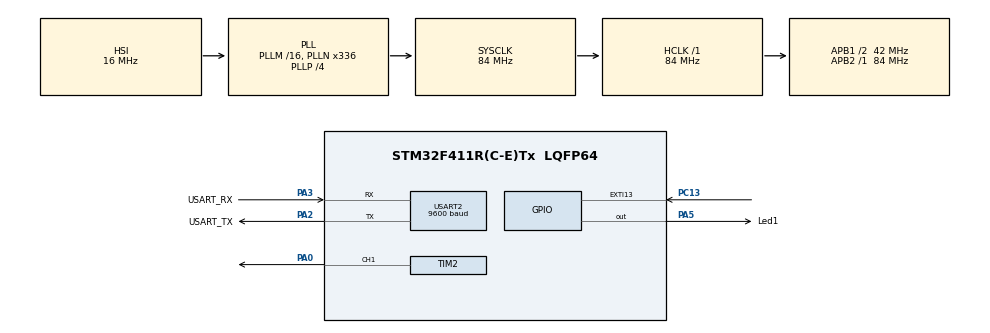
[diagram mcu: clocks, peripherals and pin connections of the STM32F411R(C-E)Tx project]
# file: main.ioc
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Mcu.Family=STM32F4
Mcu.Name=STM32F411R(C-E)Tx
Mcu.Package=LQFP64
NVIC.EXTI15_10_IRQn=true\:0\:0\:false\:false\:true\:true
NVIC.PriorityGroup=NVIC_PRIORITYGROUP_0
NVIC.TIM3_IRQn=true\:0\:0\:false\:false\:true\:true
PA0-WKUP.Signal=S_TIM2_CH1_ETR
PA13.GPIO_Label=TMS
PA13.Signal=SYS_JTMS-SWDIO
PA14.GPIO_Label=TCK
PA14.Signal=SYS_JTCK-SWCLK
PA2.GPIO_Label=USART_TX
PA2.Mode=Asynchronous
PA2.Signal=USART2_TX
PA3.GPIO_Label=USART_RX
PA3.Mode=Asynchronous
PA3.Signal=USART2_RX
PA5.GPIO_Label=Led1
PA5.Signal=GPIO_Output
PB3.GPIO_Label=SWO
PB3.Signal=SYS_JTDO-SWO
PC13-ANTI_TAMP.GPIO_ModeDefaultEXTI=GPIO_MODE_IT_RISING_FALLING
PC13-ANTI_TAMP.Signal=GPXTI13
PC14-OSC32_IN.Signal=RCC_OSC32_IN
PC15-OSC32_OUT.Signal=RCC_OSC32_OUT
PH0\ -\ OSC_IN.Signal=RCC_OSC_IN
PH1\ -\ OSC_OUT.Signal=RCC_OSC_OUT
ProjectManager.HeapSize=0x200
ProjectManager.StackSize=0x400
ProjectManager.TargetToolchain=Makefile
RCC.48MHZClocksFreq_Value=84000000
RCC.AHBFreq_Value=84000000
RCC.APB1CLKDivider=RCC_HCLK_DIV2
RCC.APB1Freq_Value=42000000
RCC.APB1TimFreq_Value=84000000
RCC.APB2Freq_Value=84000000
RCC.APB2TimFreq_Value=84000000
RCC.CortexFreq_Value=84000000
RCC.FLatency-AdvancedSettings=FLASH_LATENCY_2
RCC.HCLKFreq_Value=84000000
RCC.HSE_VALUE=8000000
RCC.HSI_VALUE=16000000
RCC.LSE_VALUE=32768
RCC.PLLN=336
RCC.PLLP=RCC_PLLP_DIV4
RCC.RCC_RTC_Clock_Source=RCC_RTCCLKSOURCE_LSE
RCC.RCC_RTC_Clock_SourceVirtual=RCC_RTCCLKSOURCE_LSE
RCC.SYSCLKFreq_VALUE=84000000
RCC.SYSCLKSource=RCC_SYSCLKSOURCE_PLLCLK
RCC.VCOOutputFreq_Value=336000000
SH.S_TIM2_CH1_ETR.0=TIM2_CH1,PWM Generation1 CH1
TIM2.Channel-PWM\ Generation1\ CH1=TIM_CHANNEL_1
TIM2.Period=256
TIM2.Prescaler=40
TIM3.CounterMode=TIM_COUNTERMODE_UP
TIM3.Period=1000
TIM3.Prescaler=41999
USART2.BaudRate=9600
USART2.VirtualMode=VM_ASYNC
VP_TIM2_VS_ClockSourceINT.Mode=Internal
VP_TIM3_VS_ClockSourceINT.Mode=Internal
board=NUCLEO-F411RE

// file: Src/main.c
#include "main.h"
#include "stm32f4xx_hal.h"

/* USER CODE BEGIN Includes */
/* vim: set ai et ts=4 sw=4: */
#include <string.h>
#include <math.h>
#include <stdlib.h>
#include <stdarg.h>
#include <stdbool.h>
/* USER CODE END Includes */

TIM_HandleTypeDef htim2;
TIM_HandleTypeDef htim3;

UART_HandleTypeDef huart2;

/* USER CODE BEGIN PV */
/* Private variables ---------------------------------------------------------*/

/* USER CODE END PV */

void SystemClock_Config(void);
static void MX_GPIO_Init(void);
static void MX_USART2_UART_Init(void);
static void MX_TIM3_Init(void);
static void MX_TIM2_Init(void);
void HAL_TIM_MspPostInit(TIM_HandleTypeDef *htim);

/* USER CODE BEGIN PFP */
/* Private function prototypes -----------------------------------------------*/

/* USER CODE END PFP */

/* USER CODE BEGIN 0 */

void UART_Printf(const char* fmt, ...) {
    char buff[256];
    va_list args;
    va_start(args, fmt);
    vsnprintf(buff, sizeof(buff), fmt, args);
    HAL_UART_Transmit(&huart2, (uint8_t*)buff, strlen(buff),
                      HAL_MAX_DELAY);
    va_end(args);
}

void init() {
    UART_Printf("Ready!\r\n");
}

void loop() {
    for(int i = 0; i < 256; i++) {
        __HAL_TIM_SetCompare(&htim2, TIM_CHANNEL_1, i);
        HAL_Delay(10);
    }

    for(int i = 255; i >= 0; i--) {
        __HAL_TIM_SetCompare(&htim2, TIM_CHANNEL_1, i);
        HAL_Delay(10);
    }
}

/* USER CODE END 0 */

int main(void)
{

  /* MCU Configuration----------------------------------------------------------*/

  /* Reset of all peripherals, Initializes the Flash interface and the Systick. */
  HAL_Init();

  /* Configure the system clock */
  SystemClock_Config();

  /* Initialize all configured peripherals */
  MX_GPIO_Init();
  MX_USART2_UART_Init();
  MX_TIM3_Init();
  MX_TIM2_Init();

  /* USER CODE BEGIN 2 */
  HAL_TIM_Base_Start_IT(&htim3);
  HAL_TIM_PWM_Start(&htim2, TIM_CHANNEL_1);
  /* USER CODE END 2 */

  /* Infinite loop */
  /* USER CODE BEGIN WHILE */
  init();
  while (1)
  {
    loop();
  /* USER CODE END WHILE */

  }

}

/** System Clock Configuration
*/
void SystemClock_Config(void)
{

  RCC_OscInitTypeDef RCC_OscInitStruct;
  RCC_ClkInitTypeDef RCC_ClkInitStruct;

    /**Configure the main internal regulator output voltage
    */
  __HAL_RCC_PWR_CLK_ENABLE();

  __HAL_PWR_VOLTAGESCALING_CONFIG(PWR_REGULATOR_VOLTAGE_SCALE1);

    /**Initializes the CPU, AHB and APB busses clocks
    */
  RCC_OscInitStruct.OscillatorType = RCC_OSCILLATORTYPE_HSI;
  RCC_OscInitStruct.HSIState = RCC_HSI_ON;
  RCC_OscInitStruct.HSICalibrationValue = 16;
  RCC_OscInitStruct.PLL.PLLState = RCC_PLL_ON;
  RCC_OscInitStruct.PLL.PLLSource = RCC_PLLSOURCE_HSI;
  RCC_OscInitStruct.PLL.PLLM = 16;
  RCC_OscInitStruct.PLL.PLLN = 336;
  RCC_OscInitStruct.PLL.PLLP = RCC_PLLP_DIV4;
  RCC_OscInitStruct.PLL.PLLQ = 4;
  if (HAL_RCC_OscConfig(&RCC_OscInitStruct) != HAL_OK)
  {
    _Error_Handler(__FILE__, __LINE__);
  }

    /**Initializes the CPU, AHB and APB busses clocks
    */
  RCC_ClkInitStruct.ClockType = RCC_CLOCKTYPE_HCLK|RCC_CLOCKTYPE_SYSCLK
                              |RCC_CLOCKTYPE_PCLK1|RCC_CLOCKTYPE_PCLK2;
  RCC_ClkInitStruct.SYSCLKSource = RCC_SYSCLKSOURCE_PLLCLK;
  RCC_ClkInitStruct.AHBCLKDivider = RCC_SYSCLK_DIV1;
  RCC_ClkInitStruct.APB1CLKDivider = RCC_HCLK_DIV2;
  RCC_ClkInitStruct.APB2CLKDivider = RCC_HCLK_DIV1;

  if (HAL_RCC_ClockConfig(&RCC_ClkInitStruct, FLASH_LATENCY_2) != HAL_OK)
  {
    _Error_Handler(__FILE__, __LINE__);
  }

    /**Configure the Systick interrupt time
    */
  HAL_SYSTICK_Config(HAL_RCC_GetHCLKFreq()/1000);

    /**Configure the Systick
    */
  HAL_SYSTICK_CLKSourceConfig(SYSTICK_CLKSOURCE_HCLK);

  /* SysTick_IRQn interrupt configuration */
  HAL_NVIC_SetPriority(SysTick_IRQn, 0, 0);
}

/* TIM2 init function */
static void MX_TIM2_Init(void)
{

  TIM_ClockConfigTypeDef sClockSourceConfig;
  TIM_MasterConfigTypeDef sMasterConfig;
  TIM_OC_InitTypeDef sConfigOC;

  htim2.Instance = TIM2;
  htim2.Init.Prescaler = 40;
  htim2.Init.CounterMode = TIM_COUNTERMODE_UP;
  htim2.Init.Period = 256;
  htim2.Init.ClockDivision = TIM_CLOCKDIVISION_DIV1;
  if (HAL_TIM_Base_Init(&htim2) != HAL_OK)
  {
    _Error_Handler(__FILE__, __LINE__);
  }

  sClockSourceConfig.ClockSource = TIM_CLOCKSOURCE_INTERNAL;
  if (HAL_TIM_ConfigClockSource(&htim2, &sClockSourceConfig) != HAL_OK)
  {
    _Error_Handler(__FILE__, __LINE__);
  }

  if (HAL_TIM_PWM_Init(&htim2) != HAL_OK)
  {
    _Error_Handler(__FILE__, __LINE__);
  }

  sMasterConfig.MasterOutputTrigger = TIM_TRGO_RESET;
  sMasterConfig.MasterSlaveMode = TIM_MASTERSLAVEMODE_DISABLE;
  if (HAL_TIMEx_MasterConfigSynchronization(&htim2, &sMasterConfig) != HAL_OK)
  {
    _Error_Handler(__FILE__, __LINE__);
  }

  sConfigOC.OCMode = TIM_OCMODE_PWM1;
  sConfigOC.Pulse = 0;
  sConfigOC.OCPolarity = TIM_OCPOLARITY_HIGH;
  sConfigOC.OCFastMode = TIM_OCFAST_DISABLE;
  if (HAL_TIM_PWM_ConfigChannel(&htim2, &sConfigOC, TIM_CHANNEL_1) != HAL_OK)
  {
    _Error_Handler(__FILE__, __LINE__);
  }

  HAL_TIM_MspPostInit(&htim2);

}

/* TIM3 init function */
static void MX_TIM3_Init(void)
{

  TIM_ClockConfigTypeDef sClockSourceConfig;
  TIM_MasterConfigTypeDef sMasterConfig;

  htim3.Instance = TIM3;
  htim3.Init.Prescaler = 41999;
  htim3.Init.CounterMode = TIM_COUNTERMODE_UP;
  htim3.Init.Period = 1000;
  htim3.Init.ClockDivision = TIM_CLOCKDIVISION_DIV1;
  if (HAL_TIM_Base_Init(&htim3) != HAL_OK)
  {
    _Error_Handler(__FILE__, __LINE__);
  }

  sClockSourceConfig.ClockSource = TIM_CLOCKSOURCE_INTERNAL;
  if (HAL_TIM_ConfigClockSource(&htim3, &sClockSourceConfig) != HAL_OK)
  {
    _Error_Handler(__FILE__, __LINE__);
  }

  sMasterConfig.MasterOutputTrigger = TIM_TRGO_RESET;
  sMasterConfig.MasterSlaveMode = TIM_MASTERSLAVEMODE_DISABLE;
  if (HAL_TIMEx_MasterConfigSynchronization(&htim3, &sMasterConfig) != HAL_OK)
  {
    _Error_Handler(__FILE__, __LINE__);
  }

}

/* USART2 init function */
static void MX_USART2_UART_Init(void)
{

  huart2.Instance = USART2;
  huart2.Init.BaudRate = 9600;
  huart2.Init.WordLength = UART_WORDLENGTH_8B;
  huart2.Init.StopBits = UART_STOPBITS_1;
  huart2.Init.Parity = UART_PARITY_NONE;
  huart2.Init.Mode = UART_MODE_TX_RX;
  huart2.Init.HwFlowCtl = UART_HWCONTROL_NONE;
  huart2.Init.OverSampling = UART_OVERSAMPLING_16;
  if (HAL_UART_Init(&huart2) != HAL_OK)
  {
    _Error_Handler(__FILE__, __LINE__);
  }

}

/** Configure pins as
        * Analog
        * Input
        * Output
        * EVENT_OUT
        * EXTI
*/
static void MX_GPIO_Init(void)
{

  GPIO_InitTypeDef GPIO_InitStruct;

  /* GPIO Ports Clock Enable */
  __HAL_RCC_GPIOC_CLK_ENABLE();
  __HAL_RCC_GPIOH_CLK_ENABLE();
  __HAL_RCC_GPIOA_CLK_ENABLE();
  __HAL_RCC_GPIOB_CLK_ENABLE();

  /*Configure GPIO pin Output Level */
  HAL_GPIO_WritePin(Led1_GPIO_Port, Led1_Pin, GPIO_PIN_RESET);

  /*Configure GPIO pin : PC13 */
  GPIO_InitStruct.Pin = GPIO_PIN_13;
  GPIO_InitStruct.Mode = GPIO_MODE_IT_RISING_FALLING;
  GPIO_InitStruct.Pull = GPIO_NOPULL;
  HAL_GPIO_Init(GPIOC, &GPIO_InitStruct);

  /*Configure GPIO pin : Led1_Pin */
  GPIO_InitStruct.Pin = Led1_Pin;
  GPIO_InitStruct.Mode = GPIO_MODE_OUTPUT_PP;
  GPIO_InitStruct.Pull = GPIO_NOPULL;
  GPIO_InitStruct.Speed = GPIO_SPEED_FREQ_LOW;
  HAL_GPIO_Init(Led1_GPIO_Port, &GPIO_InitStruct);

  /* EXTI interrupt init*/
  HAL_NVIC_SetPriority(EXTI15_10_IRQn, 0, 0);
  HAL_NVIC_EnableIRQ(EXTI15_10_IRQn);

}

void _Error_Handler(char * file, int line)
{
  while(1)
  {
  }
}

/************************ (C) COPYRIGHT STMicroelectronics *****END OF FILE****/
